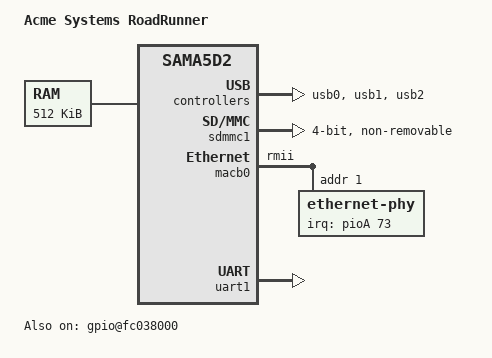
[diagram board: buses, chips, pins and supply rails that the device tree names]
/*
 * acme-roadrunner-bertad2.dts - DTS for the Berta D2 board
 * 
 *  Copyright (C) 2015 Atmel,
 *                2015 Nicolas Ferre <nicolas.ferre@atmel.com>
 *                2017 Sergio Tanzilli <tanzilli@acmesystems.it>
 *
 * This file is dual-licensed: you can use it either under the terms
 * of the GPL or the X11 license, at your option. Note that this dual
 * licensing only applies to this file, and not this project as a
 * whole.
 *
 *  a) This file is free software; you can redistribute it and/or
 *     modify it under the terms of the GNU General Public License as
 *     published by the Free Software Foundation; either version 2 of the
 *     License, or (at your option) any later version.
 *
 *     This file is distributed in the hope that it will be useful,
 *     but WITHOUT ANY WARRANTY; without even the implied warranty of
 *     MERCHANTABILITY or FITNESS FOR A PARTICULAR PURPOSE.  See the
 *     GNU General Public License for more details.
 *
 * Or, alternatively,
 *
 *  b) Permission is hereby granted, free of charge, to any person
 *     obtaining a copy of this software and associated documentation
 *     files (the "Software"), to deal in the Software without
 *     restriction, including without limitation the rights to use,
 *     copy, modify, merge, publish, distribute, sublicense, and/or
 *     sell copies of the Software, and to permit persons to whom the
 *     Software is furnished to do so, subject to the following
 *     conditions:
 *
 *     The above copyright notice and this permission notice shall be
 *     included in all copies or substantial portions of the Software.
 *
 *     THE SOFTWARE IS PROVIDED "AS IS", WITHOUT WARRANTY OF ANY KIND,
 *     EXPRESS OR IMPLIED, INCLUDING BUT NOT LIMITED TO THE WARRANTIES
 *     OF MERCHANTABILITY, FITNESS FOR A PARTICULAR PURPOSE AND
 *     NONINFRINGEMENT. IN NO EVENT SHALL THE AUTHORS OR COPYRIGHT
 *     HOLDERS BE LIABLE FOR ANY CLAIM, DAMAGES OR OTHER LIABILITY,
 *     WHETHER IN AN ACTION OF CONTRACT, TORT OR OTHERWISE, ARISING
 *     FROM, OUT OF OR IN CONNECTION WITH THE SOFTWARE OR THE USE OR
 *     OTHER DEALINGS IN THE SOFTWARE.
 */
/dts-v1/;
#include "sama5d2.dtsi"
#include "sama5d2-pinfunc.h"
#include <dt-bindings/mfd/atmel-flexcom.h>
#include <dt-bindings/gpio/gpio.h>

/ {
	model = "Acme Systems RoadRunner";
	compatible = "atmel,sama5d2-bertad2", "atmel,sama5d2", "atmel,sama5";

	chosen {
		stdout-path = "serial0:115200n8";
		bootargs = "mem=256M console=ttyS0,115200 root=/dev/mmcblk0p2 rootfstype=ext4 rw rootwait consoleblank=0";
	};

	memory {
		reg = <0x20000000 0x80000>;
	};

	clocks {
		slow_xtal {
			clock-frequency = <32768>;
		};

		main_xtal {
			clock-frequency = <12000000>;
		};
	};

	ahb {
		usb0: gadget@00300000 {
			pinctrl-names = "default";
			pinctrl-0 = <&pinctrl_usba_vbus>;
			status = "okay";
		};

		usb1: ohci@00400000 {
			num-ports = <3>;
			pinctrl-names = "default";
			pinctrl-0 = <&pinctrl_usb_default>;
			status = "okay";
		};

		usb2: ehci@00500000 {
			status = "okay";
		};

		sdmmc1: sdio-host@b0000000 {
			bus-width = <4>;
			pinctrl-names = "default";
			pinctrl-0 = <&pinctrl_sdmmc1_default>;
			non-removable;
			status = "okay"; /* conflict with qspi0 */
		};

		apb {
			spi0: spi@f8000000 {
				pinctrl-names = "default";
				pinctrl-0 = <&pinctrl_spi0_default>;
				status = "disabled";
			};

			macb0: ethernet@f8008000 {
				pinctrl-names = "default";
				pinctrl-0 = <&pinctrl_macb0_default &pinctrl_macb0_phy_irq>;
				phy-mode = "rmii";
				status = "okay";

				ethernet-phy@1 {
					reg = <0x1>;
					interrupt-parent = <&pioA>;
					interrupts = <73 IRQ_TYPE_LEVEL_LOW>;
				};
			};

			/* Debug port */

			uart1: serial@f8020000 {
				pinctrl-names = "default";
				pinctrl-0 = <&pinctrl_uart1_default>;
				status = "okay";
			};

			i2c0: i2c@f8028000 {
				dmas = <0>, <0>;
				pinctrl-names = "default";
				pinctrl-0 = <&pinctrl_i2c0_default>;
				i2c-sda-hold-time-ns = <350>;
				status = "disabled";
			};

			flx0: flexcom@f8034000 {
				atmel,flexcom-mode = <ATMEL_FLEXCOM_MODE_USART>;
				status = "disabled"; /* conflict with ISC_D2 & ISC_D3 data pins */

				uart5: serial@200 {
					compatible = "atmel,at91sam9260-usart";
					reg = <0x200 0x200>;
					interrupts = <19 IRQ_TYPE_LEVEL_HIGH 7>;
					clocks = <&flx0_clk>;
					clock-names = "usart";
					pinctrl-names = "default";
					pinctrl-0 = <&pinctrl_flx0_default>;
					atmel,fifo-size = <32>;
					status = "disabled";
				};
			};

			shdwc@f8048010 {
				atmel,shdwc-debouncer = <976>;

				input@0 {
					reg = <0>;
					atmel,wakeup-type = "low";
				};
			};

			watchdog@f8048040 {
				status = "okay";
			};
			
			gpio@fc038000 {
				compatible = "atmel,sama5d2-gpio";
				pinctrl-names = "default";
				pinctrl-0 = <&pinctrl_gpio>;
				status = "okay";
			};

			uart3: serial@fc008000 {
				pinctrl-names = "default";
				pinctrl-0 = <&pinctrl_uart3_default>;
				status = "disabled";
			};

			flx4: flexcom@fc018000 {
				atmel,flexcom-mode = <ATMEL_FLEXCOM_MODE_TWI>;
				status = "disabled";

				i2c2: i2c@600 {
					compatible = "atmel,sama5d2-i2c";
					reg = <0x600 0x200>;
					interrupts = <23 IRQ_TYPE_LEVEL_HIGH 7>;
					dmas = <0>, <0>;
					dma-names = "tx", "rx";
					#address-cells = <1>;
					#size-cells = <0>;
					clocks = <&flx4_clk>;
					pinctrl-names = "default";
					pinctrl-0 = <&pinctrl_flx4_default>;
					atmel,fifo-size = <16>;
					status = "disabled";
				};
			};

			i2c1: i2c@fc028000 {
				dmas = <0>, <0>;
				pinctrl-names = "default";
				pinctrl-0 = <&pinctrl_i2c1_default>;
				status = "disabled";
			};

			/*
			adc: adc@fc030000 {
				vddana-supply = <&vdd_3v3_lp_reg>;
				vref-supply = <&vdd_3v3_lp_reg>;
				pinctrl-names = "default";
				pinctrl-0 = <&pinctrl_adc_default>;
				status = "disabled";
			};
			*/

			pinctrl@fc038000 {
				/* Set as GPIO the pins that are not by default */

				pinctrl_gpio: gpio_default {
					pinmux = <PIN_PD4__GPIO>,
						     <PIN_PD5__GPIO>,
						     <PIN_PD21__GPIO>,
						     <PIN_PD22__GPIO>,
						     <PIN_PD14__GPIO>,
						     <PIN_PD15__GPIO>,
						     <PIN_PD16__GPIO>,
						     <PIN_PD17__GPIO>;
						     
					bias-pull-up;
				};
				
			
			
				/*
				 * There is no real pinmux for ADC, if the pin
				 * is not requested by another peripheral then
				 * the muxing is done when channel is enabled.
				 * Requesting pins for ADC is GPIO is
				 * encouraged to prevent conflicts and to
				 * disable bias in order to be in the same
				 * state when the pin is not muxed to the adc.
				 */
				pinctrl_adc_default: adc_default {
					pinmux = <PIN_PD23__GPIO>;
					bias-disable;
				};

				pinctrl_charger_chglev: charger_chglev {
					pinmux = <PIN_PA12__GPIO>;
					bias-disable;
				};

				pinctrl_charger_irq: charger_irq {
					pinmux = <PIN_PB13__GPIO>;
					bias-disable;
				};

				pinctrl_charger_lbo: charger_lbo {
					pinmux = <PIN_PC8__GPIO>;
					bias-pull-up;
				};

				pinctrl_flx0_default: flx0_default {
					pinmux = <PIN_PB28__FLEXCOM0_IO0>,
						 <PIN_PB29__FLEXCOM0_IO1>;
					bias-disable;
				};

				pinctrl_flx4_default: flx4_default {
					pinmux = <PIN_PD12__FLEXCOM4_IO0>,
						 <PIN_PD13__FLEXCOM4_IO1>;
					bias-disable;
				};

				pinctrl_i2c0_default: i2c0_default {
					pinmux = <PIN_PD21__TWD0>,
						 <PIN_PD22__TWCK0>;
					bias-disable;
				};

				pinctrl_i2c1_default: i2c1_default {
					pinmux = <PIN_PD4__TWD1>,
						 <PIN_PD5__TWCK1>;
					bias-disable;
				};

				pinctrl_macb0_default: macb0_default {
					pinmux = <PIN_PB14__GTXCK>,
						 <PIN_PB15__GTXEN>,
						 <PIN_PB16__GRXDV>,
						 <PIN_PB17__GRXER>,
						 <PIN_PB18__GRX0>,
						 <PIN_PB19__GRX1>,
						 <PIN_PB20__GTX0>,
						 <PIN_PB21__GTX1>,
						 <PIN_PB22__GMDC>,
						 <PIN_PB23__GMDIO>;
					bias-disable;
				};

				pinctrl_macb0_phy_irq: macb0_phy_irq {
					pinmux = <PIN_PC9__GPIO>;
					bias-disable;
				};

				pinctrl_pdmic_default: pdmic_default {
					pinmux = <PIN_PB26__PDMIC_DAT>,
						<PIN_PB27__PDMIC_CLK>;
					bias-disable;
				};

				pinctrl_sdmmc1_default: sdmmc1_default {
					cmd_data {
						pinmux = <PIN_PA28__SDMMC1_CMD>,
							 <PIN_PA18__SDMMC1_DAT0>,
							 <PIN_PA19__SDMMC1_DAT1>,
							 <PIN_PA20__SDMMC1_DAT2>,
							 <PIN_PA21__SDMMC1_DAT3>;
						bias-pull-up;
					};

					conf-ck {
						pinmux = <PIN_PA22__SDMMC1_CK>;
						bias-disable;
					};
					
					/* The cd line is used on microSD socket */
					conf-cd {
						pinmux = <PIN_PA30__SDMMC1_CD>;
						bias-pull-down;
					};
				};

				pinctrl_spi0_default: spi0_default {
					pinmux = <PIN_PA14__SPI0_SPCK>,
						 <PIN_PA15__SPI0_MOSI>,
						 <PIN_PA16__SPI0_MISO>,
						 <PIN_PA17__SPI0_NPCS0>;
					bias-disable;
				};

				pinctrl_uart1_default: uart1_default {
					pinmux = <PIN_PD2__URXD1>,
						 <PIN_PD3__UTXD1>;
					bias-disable;
				};

				pinctrl_uart3_default: uart3_default {
					pinmux = <PIN_PB11__URXD3>,
						 <PIN_PB12__UTXD3>;
					bias-disable;
				};

				pinctrl_usb_default: usb_default {
					pinmux = <PIN_PB10__GPIO>;
					bias-disable;
				};

				pinctrl_usba_vbus: usba_vbus {
					pinmux = <PIN_PA31__GPIO>;
					bias-disable;
				};
				
			};
		};
	};
	
};
